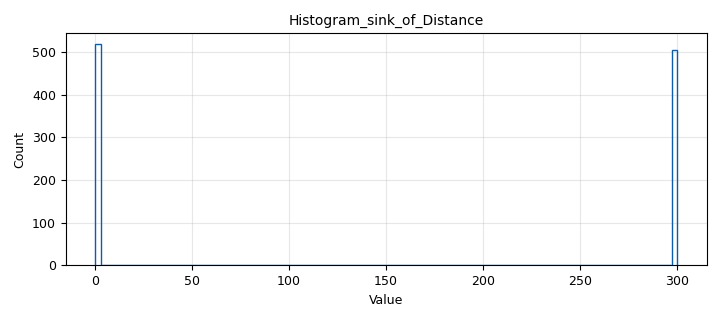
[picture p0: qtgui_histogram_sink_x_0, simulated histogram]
options:
  parameters:
    author: manik
    generate_options: qt_gui
    id: g
    output_language: python
    title: g
  states: {}

blocks:
- name: delay
  id: variable_qtgui_range
  parameters:
    orient: Qt.Horizontal
    start: '0'
    step: '10'
    stop: '10000'
    value: '0'
  states: {}
- name: samp_rate
  id: variable
  parameters:
    value: 200e3
  states: {}
- name: analog_sig_source_x_0
  id: analog_sig_source_x
  parameters:
    amp: '1'
    freq: '2000'
    offset: '0'
    phase: '0'
    samp_rate: samp_rate
    type: complex
    waveform: analog.GR_COS_WAVE
  states: {}
- name: analog_sig_source_x_0_0
  id: analog_sig_source_x
  parameters:
    amp: '1'
    freq: 2.5e9
    offset: '0'
    phase: '0'
    samp_rate: samp_rate
    type: complex
    waveform: analog.GR_COS_WAVE
  states: {}
- name: analog_sig_source_x_0_0_0
  id: analog_sig_source_x
  parameters:
    amp: '1'
    freq: 2.45e9
    offset: '0'
    phase: '0'
    samp_rate: samp_rate
    type: complex
    waveform: analog.GR_COS_WAVE
  states: {}
- name: blocks_complex_to_arg_0
  id: blocks_complex_to_arg
  parameters: {}
  states: {}
- name: blocks_complex_to_arg_2
  id: blocks_complex_to_arg
  parameters: {}
  states: {}
- name: blocks_delay_0
  id: blocks_delay
  parameters:
    delay: delay
    type: complex
  states: {}
- name: blocks_delay_0_1
  id: blocks_delay
  parameters:
    delay: delay
    type: complex
  states: {}
- name: blocks_multiply_conjugate_cc_0
  id: blocks_multiply_conjugate_cc
  parameters: {}
  states: {}
- name: blocks_multiply_conjugate_cc_0_0
  id: blocks_multiply_conjugate_cc
  parameters: {}
  states: {}
- name: blocks_multiply_conjugate_cc_0_0_0
  id: blocks_multiply_conjugate_cc
  parameters: {}
  states: {}
- name: blocks_multiply_conjugate_cc_0_1
  id: blocks_multiply_conjugate_cc
  parameters: {}
  states: {}
- name: blocks_multiply_xx_0
  id: blocks_multiply_xx
  parameters:
    type: complex
  states: {}
- name: blocks_multiply_xx_0_0
  id: blocks_multiply_xx
  parameters:
    type: complex
  states: {}
- name: blocks_sub_xx_1
  id: blocks_sub_xx
  parameters:
    type: float
  states: {}
- name: epy_block_0_0
  id: epy_block
  parameters:
    _source_code: |
      """
      Embedded Python Blocks:

      Each time this file is saved, GRC will instantiate the first class it finds
      to get ports and parameters of your block. The arguments to __init__  will
      be the parameters. All of them are required to have default values!
      """

      import numpy as np
      from gnuradio import gr
      import math as m


      class blk(gr.sync_block):  # other base classes are basic_block, decim_block, interp_block
          """Embedded Python Block example - a simple multiply const"""

          def __init__(self, example_param=1.0):  # only default arguments here
              """arguments to this function show up as parameters in GRC"""
              gr.sync_block.__init__(
                  self,
                  name='Negative Phase Calibration Block',   # will show up in GRC
                  in_sig=[np.float32],
                  out_sig=[np.float32]
              )
              # if an attribute with the same name as a parameter is found,
              # a callback is registered (properties work, too).
              self.example_param = example_param

          def work(self, input_items, output_items):
              """example: multiply with constant"""
              for i in range(len(input_items[0])):
                  if input_items[0][i]<0:
                      output_items[0][i]=input_items[0][i]+2*m.pi
                  else:
                      output_items[0][i]=input_items[0][i]
              return len(output_items[0])
    example_param: '1.0'
  states: {}
- name: epy_block_1
  id: epy_block
  parameters:
    _source_code: |
      """
      Embedded Python Blocks:

      Each time this file is saved, GRC will instantiate the first class it finds
      to get ports and parameters of your block. The arguments to __init__  will
      be the parameters. All of them are required to have default values!
      """

      import numpy as np
      from gnuradio import gr


      class blk(gr.sync_block):  # other base classes are basic_block, decim_block, interp_block
          """Embedded Python Block example - a simple multiply const"""

          def __init__(self, example_param=1.0):  # only default arguments here
              """arguments to this function show up as parameters in GRC"""
              gr.sync_block.__init__(
                  self,
                  name='Distance Calculation Block',   # will show up in GRC
                  in_sig=[np.float32],
                  out_sig=[np.float32]
              )
              # if an attribute with the same name as a parameter is found,
              # a callback is registered (properties work, too).
              self.example_param = example_param

          def work(self, input_items, output_items):
              """example: multiply with constant"""
              output_items[0][:] = input_items[0] * 23.87324146*2
              return len(output_items[0])
    example_param: '1.0'
  states: {}
- name: qtgui_histogram_sink_x_0
  id: qtgui_histogram_sink_x
  parameters:
    bins: '100'
    gui_hint: 2,1
    name: '"Histogram_sink_of_Distance"'
    size: '1024'
    type: float
    xmax: '300'
    xmin: '0'
  states: {}
- name: qtgui_number_sink_0_0
  id: qtgui_number_sink
  parameters:
    autoscale: 'True'
    graph_type: qtgui.NUM_GRAPH_HORIZ
    gui_hint: 2,0
    name: Distance_in_cm
    type: float
  states: {}
- name: qtgui_number_sink_0_1
  id: qtgui_number_sink
  parameters:
    autoscale: 'True'
    graph_type: qtgui.NUM_GRAPH_HORIZ
    gui_hint: 1,2
    name: Phase Difference in radians
    type: float
  states: {}
- name: qtgui_number_sink_0_1_0
  id: qtgui_number_sink
  parameters:
    autoscale: 'True'
    graph_type: qtgui.NUM_GRAPH_HORIZ
    gui_hint: 1,0
    name: Phase_2.5GHz_Signal_in radias
    type: float
  states: {}
- name: qtgui_number_sink_0_1_0_0
  id: qtgui_number_sink
  parameters:
    autoscale: 'True'
    graph_type: qtgui.NUM_GRAPH_HORIZ
    gui_hint: 1,1
    name: Phase_2.4GHz_Signal_in_radians
    type: float
  states: {}

connections:
- [analog_sig_source_x_0, '0', blocks_multiply_conjugate_cc_0_0, '1']
- [analog_sig_source_x_0, '0', blocks_multiply_conjugate_cc_0_0_0, '1']
- [analog_sig_source_x_0, '0', blocks_multiply_xx_0, '0']
- [analog_sig_source_x_0, '0', blocks_multiply_xx_0_0, '0']
- [analog_sig_source_x_0_0, '0', blocks_multiply_conjugate_cc_0, '1']
- [analog_sig_source_x_0_0, '0', blocks_multiply_xx_0, '1']
- [analog_sig_source_x_0_0_0, '0', blocks_multiply_conjugate_cc_0_1, '1']
- [analog_sig_source_x_0_0_0, '0', blocks_multiply_xx_0_0, '1']
- [blocks_complex_to_arg_0, '0', blocks_sub_xx_1, '0']
- [blocks_complex_to_arg_0, '0', qtgui_number_sink_0_1_0, '0']
- [blocks_complex_to_arg_2, '0', blocks_sub_xx_1, '1']
- [blocks_complex_to_arg_2, '0', qtgui_number_sink_0_1_0_0, '0']
- [blocks_delay_0, '0', blocks_multiply_conjugate_cc_0, '0']
- [blocks_delay_0_1, '0', blocks_multiply_conjugate_cc_0_1, '0']
- [blocks_multiply_conjugate_cc_0, '0', blocks_multiply_conjugate_cc_0_0, '0']
- [blocks_multiply_conjugate_cc_0_0, '0', blocks_complex_to_arg_0, '0']
- [blocks_multiply_conjugate_cc_0_0_0, '0', blocks_complex_to_arg_2, '0']
- [blocks_multiply_conjugate_cc_0_1, '0', blocks_multiply_conjugate_cc_0_0_0, '0']
- [blocks_multiply_xx_0, '0', blocks_delay_0, '0']
- [blocks_multiply_xx_0_0, '0', blocks_delay_0_1, '0']
- [blocks_sub_xx_1, '0', epy_block_0_0, '0']
- [epy_block_0_0, '0', epy_block_1, '0']
- [epy_block_0_0, '0', qtgui_number_sink_0_1, '0']
- [epy_block_1, '0', qtgui_histogram_sink_x_0, '0']
- [epy_block_1, '0', qtgui_number_sink_0_0, '0']

metadata:
  file_format: 1
